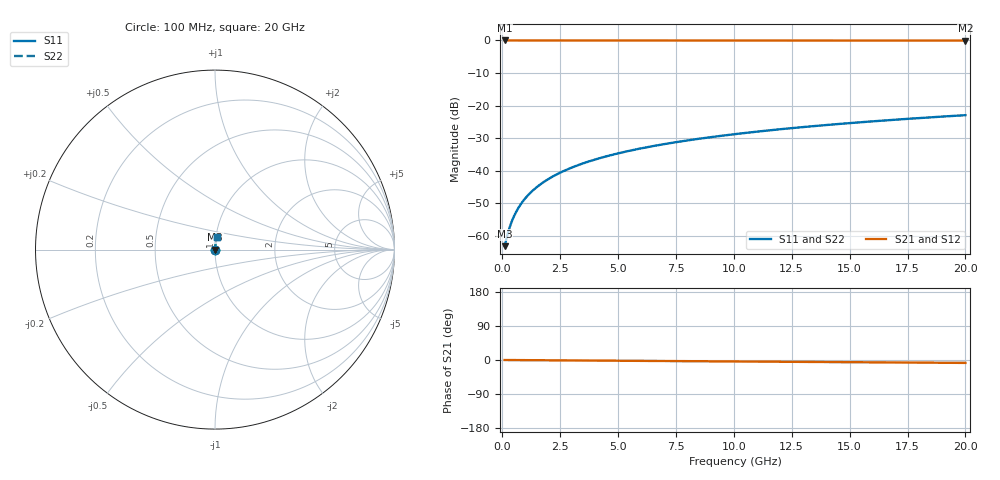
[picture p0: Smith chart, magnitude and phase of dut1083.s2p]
! Touchstone file exported from HFSS 2026.1.0
!  File:  C:/ffzhzh/LocalFiles/Ansys_Project_Files/temp_train_TSV_1083_1783190145_18472.aedt
!  Generated:  02:37:29 AM Jul  5, 2026
!  Design:  TSV
!  Project:  temp_train_TSV_1083_1783190145_18472
! Variables:
!  h_bsmrdl = 2um
!  h_ox = 20um
!  h_rdl = 5um
!  h_sub = 62.04um
!  h_tmrdl = 5um
!  h_tsv = 62.04um
!  h_via = 3um
!  l_bsmrdl = 300um
!  l_sub = 407.18um
!  l_tmrdl = 200um
!  m_sub = 200um
!  pitch = 36.43um
!  r_tsv = 3.59um
!  s_tmrdl = 10um
!  w_bsmrdl = 18um
!  w_sub = 500um
!  w_tmrdl = 12um
!  x_tsv_center1 = 206um
!  x_tsv_center2 = 524um
!  x_tsv_center3 = 736um
!  x_tsv_center4 = 1054um
!  x_tsv_center5 = 1266um
!  x_tsv_center6 = 1584um
# GHz S MA R 50.000000
! Terminal data exported
! Port[1] = TSV1_1_T1
! Port[2] = TSV1_1_T2
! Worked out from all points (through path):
!   200 points, 100 MHz to 20 GHz, reference 50 ohm
!   highest |S21| = -0.01 dB at 100 MHz (marker M1); lowest = 0.0 dB at 20 GHz (marker M2)
!   group delay of S21, straight-line fit = 1.06 ps
!   lowest |S11| = -63.1 dB at 100 MHz (marker M3), VSWR 1.00, Z = 50.1 + j0.0389 ohm
!   |S11| at or under -10 dB: start of sweep to end of sweep
!   |S22| runs from -63.1 to -22.9 dB; largest |S21 - S12| = 4.4e-15
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0.1  0.0007009 33.7  0.9994 -0.0  0.9994 -0.0  0.0007009 33.7
! Gamma 0 0 0 0
! Port Impedance 50 0 50 0
0.2  0.0009742 52.5  0.9994 -0.1  0.9994 -0.1  0.0009742 52.5
0.3  0.001301 62.3  0.9994 -0.1  0.9994 -0.1  0.001301 62.3
0.4  0.001647 68.0  0.9994 -0.2  0.9994 -0.2  0.001647 68.0
0.5  0.002002 71.8  0.9994 -0.2  0.9994 -0.2  0.002002 71.8
0.6  0.002362 74.4  0.9994 -0.2  0.9994 -0.2  0.002362 74.4
0.8  0.003091 77.8  0.9994 -0.3  0.9994 -0.3  0.003091 77.8
1.1  0.004196 80.6  0.9993 -0.4  0.9993 -0.4  0.004196 80.6
1.5  0.005679 82.5  0.9993 -0.6  0.9993 -0.6  0.005679 82.5
1.8  0.006793 83.4  0.9993 -0.7  0.9993 -0.7  0.006793 83.4
2.1  0.007907 83.9  0.9992 -0.8  0.9992 -0.8  0.007907 83.9
2.7  0.01013 84.5  0.9992 -1.1  0.9992 -1.1  0.01013 84.5
3.5  0.01308 84.8  0.999 -1.4  0.999 -1.4  0.01308 84.8
4.2  0.01564 84.9  0.9989 -1.6  0.9989 -1.6  0.01564 84.9
5  0.01855 84.8  0.9988 -2.0  0.9988 -2.0  0.01855 84.8
5.9  0.02181 84.6  0.9986 -2.3  0.9986 -2.3  0.02181 84.6
6.8  0.02504 84.4  0.9984 -2.6  0.9984 -2.6  0.02504 84.4
8.3  0.0304 84.1  0.9981 -3.2  0.9981 -3.2  0.0304 84.1
10.1  0.03678 83.6  0.9977 -3.9  0.9977 -3.9  0.03678 83.6
13.4  0.04841 82.6  0.997 -5.2  0.997 -5.2  0.04841 82.6
16.7  0.05998 81.6  0.9961 -6.4  0.9961 -6.4  0.05998 81.6
20  0.07147 80.5  0.9952 -7.7  0.9952 -7.7  0.07147 80.5
